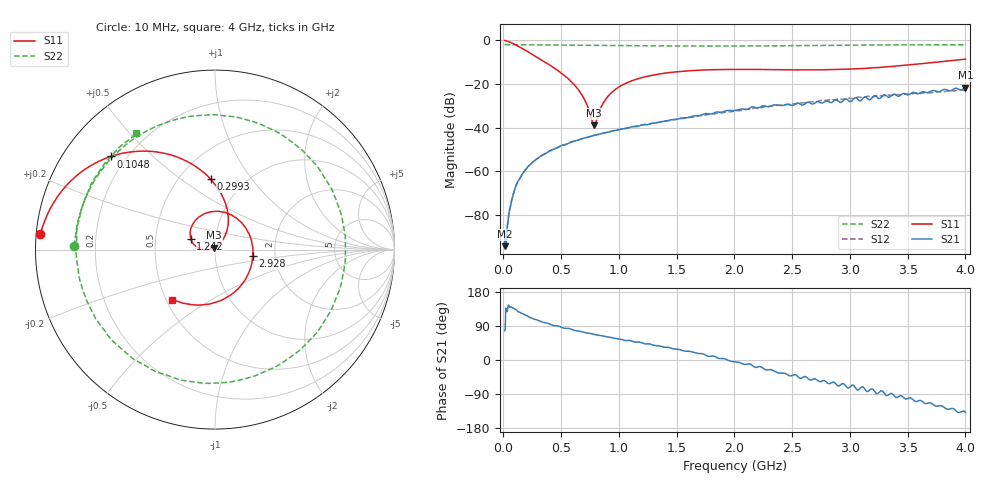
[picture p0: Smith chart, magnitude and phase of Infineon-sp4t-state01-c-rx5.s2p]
! 5/5/2016 5:10:10 PM
! C:\ANRITSUVNA\DATA\INFINEON-SP4T-STATE01-C-RX5.S2P
! CHANNEL.1
! TR.MEASUREMENT
! CORRECTED.DATA
# GHZ S RI R 50.0
! FREQ.GHZ  S11RE  S11IM  S21RE  S21IM  S12RE  S12IM  S22RE  S22IM
!; PortSelection: Port_12
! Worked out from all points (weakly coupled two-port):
!   801 points, 10 MHz to 4 GHz, reference 50 ohm
!   highest |S21| = -21.68 dB at 4 GHz (marker M1); lowest = -94.1 dB at 10 MHz (marker M2)
!   lowest |S11| = -38.8 dB at 783.1 MHz (marker M3), VSWR 1.02, Z = 49.6 + j1.05 ohm
!   |S11| at or under -10 dB: 358.1 MHz to 3.771 GHz (3.413 GHz wide, 165 % of centre)
!   |S22| runs from -2.8 to -2.1 dB; largest |S21 - S12| = 0.012
!   S11 on the Smith chart (normalised r, x): 10 MHz: 0.01, +0.05; 104.8 MHz: 0.14, +0.37; 299.3 MHz: 0.70, +0.65; 1.242 GHz: 0.76, +0.09; 2.928 GHz: 1.53, -0.11; 4 GHz: 0.54, -0.35
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0.01  -0.973 0.0884  4.3e-06 1.93e-05  -4e-07 2.68e-05  -0.7851 0.0228
0.0449125  -0.8611 0.3173  -8.16e-05 5.79e-05  -7.5e-05 6.29e-05  -0.779 0.0636
0.1047625  -0.5811 0.5188  -0.000311 0.000329  -0.000301 0.000322  -0.7661 0.1442
0.18955  -0.2483 0.5283  -0.000519 0.000963  -0.000516 0.000953  -0.7343 0.2545
0.299275  -0.0243 0.3926  -0.000512 0.00196  -0.000509 0.00195  -0.6718 0.3848
0.5436625  0.0707 0.1246  0.000468 0.00413  0.000458 0.00419  -0.4493 0.6186
0.678325  0.0354 0.0437  0.00147 0.0054  0.00147 0.00534  -0.2909 0.7015
0.7830625  -0.00433 0.0106  0.00251 0.00616  0.00246 0.00617  -0.1576 0.7389
0.8030125  -0.0123 0.00661  0.00273 0.00625  0.00268 0.0063  -0.1323 0.7432
0.86785  -0.0377 -0.000959  0.0034 0.00671  0.00339 0.00673  -0.044 0.7501
0.94765  -0.0675 -0.000574  0.00441 0.00718  0.00444 0.00721  0.0615 0.7443
1.06735  -0.1042 0.0154  0.00601 0.00749  0.00606 0.00773  0.2175 0.7108
1.241912  -0.135 0.0604  0.00864 0.00792  0.00895 0.00791  0.4262 0.6012
1.341662  -0.1387 0.0922  0.0104 0.00804  0.0108 0.00778  0.5262 0.512
1.690788  -0.0799 0.1877  0.018 0.00553  0.0179 0.00502  0.7245 0.0804
2.005  0.0269 0.212  0.0247 -0.00211  0.024 -0.00122  0.6415 -0.3466
2.379062  0.1473 0.1509  0.027 -0.0182  0.0284 -0.0156  0.2489 -0.6928
2.673325  0.1997 0.0598  0.0215 -0.0272  0.0262 -0.0292  -0.1651 -0.7306
2.927688  0.2108 -0.0352  0.0171 -0.0343  0.0173 -0.0411  -0.4865 -0.5832
3.336663  0.1457 -0.1987  -0.00157 -0.0495  -0.00604 -0.0551  -0.7621 -0.1105
3.625938  0.0194 -0.2883  -0.0217 -0.0621  -0.0249 -0.0558  -0.7282 0.2716
4  -0.2375 -0.278  -0.0612 -0.0551  -0.0559 -0.0445  -0.4376 0.6472
